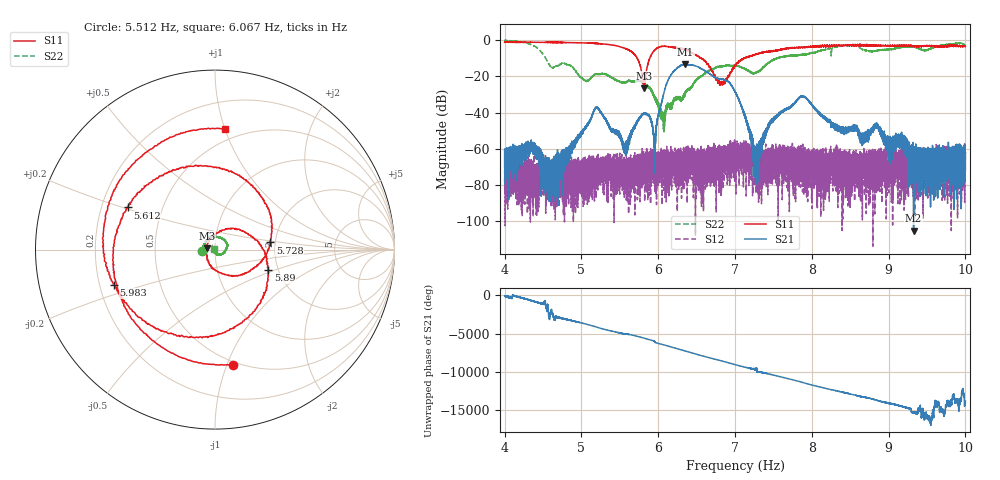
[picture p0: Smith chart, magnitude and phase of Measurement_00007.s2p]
!Created with skrf (http://scikit-rf.org).
# Hz S RI R 50.0
!freq ReS11 ImS11 ReS21 ImS21 ReS12 ImS12 ReS22 ImS22
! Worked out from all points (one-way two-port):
!   14001 points, 4 Hz to 10 Hz, reference 50 ohm
!   highest |S21| = -13.27 dB at 6.352 Hz (marker M1); lowest = -105.3 dB at 9.325 Hz (marker M2)
!   lowest |S11| = -26.6 dB at 5.815 Hz (marker M3), VSWR 1.10, Z = 45.6 + j0.632 ohm
!   |S11| at or under -10 dB: 5.726 Hz to 5.89 Hz (163.6 mHz wide, 2.82 % of centre); 6.563088 Hz to 6.564337 Hz (1.249 mHz wide, 0.019 % of centre); 6.565 Hz to 7.115 Hz (549.7 mHz wide, 8.04 % of centre) (the widest 3 of 10)
!   |S22| runs from -50.7 to -0.2 dB; largest |S21 - S12| = 0.22
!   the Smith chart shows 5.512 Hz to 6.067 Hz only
!   S11 on the Smith chart (normalised r, x): 5.512 Hz: 0.47, -1.05; 5.612 Hz: 0.31, +0.21; 5.728 Hz: 1.88, +0.16; 5.89 Hz: 1.77, -0.44; 5.983 Hz: 0.26, -0.16; 6.067 Hz: 0.40, +1.00
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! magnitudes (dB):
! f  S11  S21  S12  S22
! 4 Hz  -1.2  -70.0  -78.6  -0.3
! 4.351 Hz  -1.1  -57.1  -80.2  -2.6
! 4.577 Hz  -1.2  -73.1  -69.1  -13.3
! 5 Hz  -1.5  -50.9  -73.0  -20.7
! 5.201 Hz  -1.9  -37.1  -75.8  -18.9
! 5.512 Hz  -3.7  -52.7  -69.3  -23.0
! 5.612 Hz  -5.3  -53.7  -76.2  -22.5
! 5.728 Hz  -10.2  -45.7  -64.9  -22.8
! 5.815 Hz  -26.6  -40.5  -63.6  -23.8
! 5.89 Hz  -10.0  -42.6  -71.2  -26.1
! 5.983 Hz  -4.5  -46.2  -71.7  -33.7
! 6 Hz  -4.1  -41.7  -68.3  -35.3
! 6.067 Hz  -3.4  -30.3  -63.1  -45.3
! 6.352 Hz  -5.2  -13.3  -62.3  -29.5
! 6.809 Hz  -24.5  -21.4  -61.4  -14.6
! 7 Hz  -14.1  -28.5  -66.1  -14.1
! 7.271 Hz  -7.9  -66.6  -66.2  -17.6
! 7.549 Hz  -5.8  -41.6  -66.3  -10.2
! 8 Hz  -3.8  -35.6  -71.8  -6.9
! 9 Hz  -3.2  -56.7  -71.8  -5.0
! 9.325 Hz  -3.2  -105.3  -66.0  -3.6
! 10 Hz  -3.6  -62.0  -65.6  -3.1
